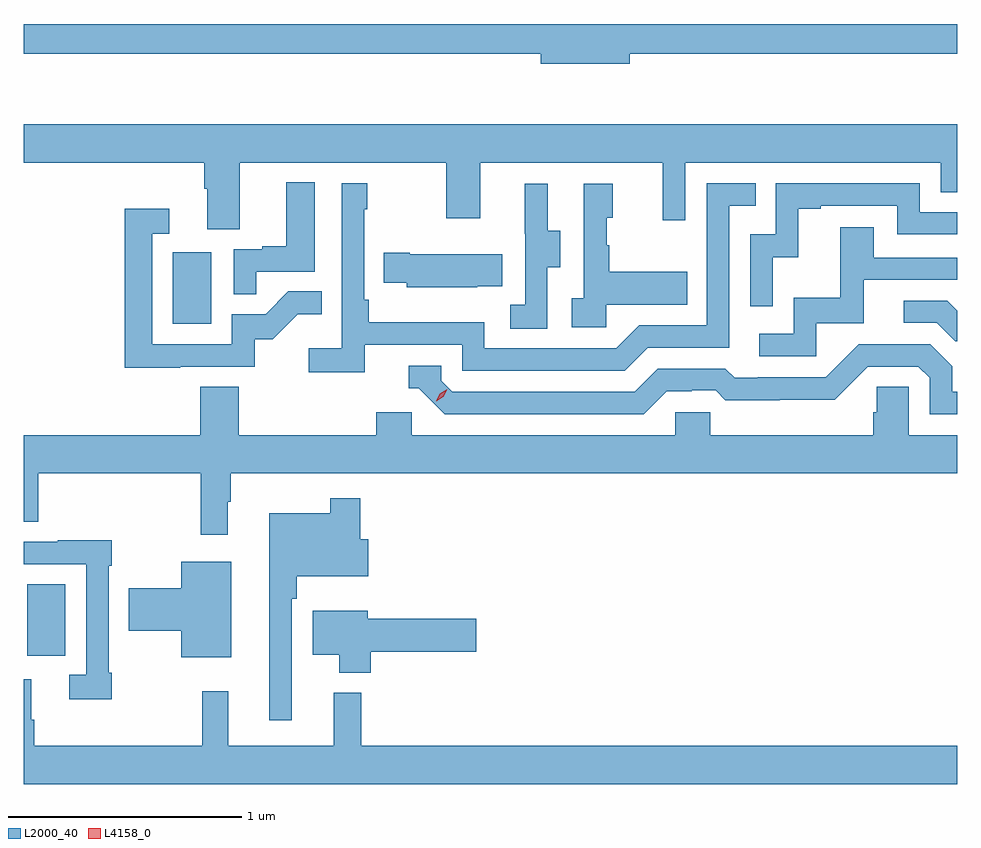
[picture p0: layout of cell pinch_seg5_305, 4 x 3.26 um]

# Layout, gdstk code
import gdstk
lib = gdstk.Library(unit=1e-6, precision=1e-09)
def R(c, l, rs):  # rectangles x0, y0, x1, y1
    for r in rs: c.add(gdstk.rectangle(r[:2], r[2:], *l))
def P(c, l, *ps):  # polygons
    for p in ps: c.add(gdstk.Polygon(p, *l))
L2000_40 = (2000, 40)
L4158_0 = (4158, 0)

pinch_seg5_305 = lib.new_cell('pinch_seg5_305')
R(pinch_seg5_305, L2000_40, [(887.528,886.614,887.692,886.921), (888.152,888.036,888.316,888.343)])
P(pinch_seg5_305, L2000_40, [(890.11,889.194),(891.514,889.194),(891.514,889.322),(887.514,889.322),(887.514,889.194),(889.73,889.194),(889.73,889.151),(890.11,889.151)],
  [(888.439,888.728),(889.324,888.728),(889.324,888.489),(889.471,888.489),(889.471,888.728),(890.252,888.728),(890.252,888.48),(890.349,888.48),(890.349,888.728),(891.444,888.728),(891.444,888.601),(891.514,888.601),(891.514,888.892),(887.514,888.892),(887.514,888.728),(888.287,888.728),(888.287,888.616),(888.299,888.616),(888.299,888.442),(888.439,888.442)],
  [(888.509,888.261),(888.76,888.261),(888.76,888.643),(888.638,888.643),(888.638,888.37),(888.535,888.37),(888.535,888.357),(888.414,888.357),(888.414,888.163),(888.509,888.163)],
  [(888.974,887.946),(889.392,887.946),(889.392,887.835),(890.089,887.835),(890.188,887.934),(890.538,887.934),(890.538,888.543),(890.651,888.543),(890.651,888.639),(890.442,888.639),(890.442,888.03),(890.151,888.03),(890.052,887.931),(889.488,887.931),(889.488,888.043),(888.992,888.043),(888.992,888.139),(888.972,888.139),(888.972,888.527),(888.985,888.527),(888.985,888.64),(888.876,888.64),(888.876,887.932),(888.735,887.932),(888.735,887.83),(888.974,887.83)],
  [(890.724,888.323),(890.834,888.323),(890.834,888.531),(890.929,888.531),(890.929,888.543),(891.258,888.543),(891.258,888.42),(891.514,888.42),(891.514,888.516),(891.354,888.516),(891.354,888.639),(890.736,888.639),(890.736,888.42),(890.628,888.42),(890.628,888.111),(890.724,888.111)],
  [(890.01,888.119),(890.357,888.119),(890.357,888.259),(890.023,888.259),(890.023,888.374),(890.013,888.374),(890.013,888.492),(890.038,888.492),(890.038,888.637),(889.914,888.637),(889.914,888.146),(889.863,888.146),(889.863,888.021),(890.01,888.021)],
  [(889.758,888.28),(889.813,888.28),(889.813,888.435),(889.759,888.435),(889.759,888.637),(889.661,888.637),(889.661,888.423),(889.662,888.423),(889.662,888.119),(889.599,888.119),(889.599,888.016),(889.758,888.016)],
  [(888.185,887.853),(888.504,887.853),(888.504,887.97),(888.58,887.97),(888.687,888.077),(888.791,888.077),(888.791,888.176),(888.648,888.176),(888.55,888.078),(888.405,888.078),(888.405,887.949),(888.063,887.949),(888.063,888.423),(888.136,888.423),(888.136,888.529),(887.947,888.529),(887.947,887.848),(888.185,887.848)],
  [(890.91,888.039),(891.115,888.039),(891.115,888.225),(891.514,888.225),(891.514,888.321),(891.157,888.321),(891.157,888.451),(891.013,888.451),(891.013,888.148),(890.814,888.148),(890.814,887.994),(890.667,887.994),(890.667,887.898),(890.91,887.898)],
  [(889.457,888.197),(889.565,888.197),(889.565,888.334),(889.168,888.334),(889.168,888.342),(889.057,888.342),(889.057,888.212),(889.155,888.212),(889.155,888.194),(889.457,888.194)],
  [(891.514,888.093),(891.472,888.135),(891.285,888.135),(891.285,888.042),(891.426,888.042),(891.506,887.962),(891.514,887.962)],
  [(890.269,887.748),(890.376,887.748),(890.376,887.751),(890.479,887.751),(890.521,887.709),(890.754,887.709),(890.754,887.711),(890.99,887.711),(891.132,887.853),(891.348,887.853),(891.396,887.805),(891.396,887.649),(891.514,887.649),(891.514,887.745),(891.493,887.745),(891.493,887.855),(891.399,887.949),(891.093,887.949),(890.952,887.808),(890.659,887.808),(890.659,887.805),(890.56,887.805),(890.521,887.844),(890.232,887.844),(890.133,887.745),(889.35,887.745),(889.302,887.793),(889.302,887.856),(889.163,887.856),(889.163,887.76),(889.206,887.76),(889.317,887.649),(890.17,887.649)],
  [(888.388,887.273),(888.4,887.273),(888.4,887.396),(891.514,887.396),(891.514,887.56),(891.306,887.56),(891.306,887.768),(891.169,887.768),(891.169,887.658),(891.155,887.658),(891.155,887.56),(890.457,887.56),(890.457,887.658),(890.307,887.658),(890.307,887.56),(889.176,887.56),(889.176,887.658),(889.025,887.658),(889.025,887.56),(888.434,887.56),(888.434,887.768),(888.269,887.768),(888.269,887.56),(887.514,887.56),(887.514,887.188),(887.576,887.188),(887.576,887.396),(888.271,887.396),(888.271,887.133),(888.388,887.133)],
  [(888.663,886.859),(888.683,886.859),(888.683,886.955),(888.991,886.955),(888.991,887.113),(888.956,887.113),(888.956,887.29),(888.828,887.29),(888.828,887.224),(888.566,887.224),(888.566,886.338),(888.663,886.338)],
  [(887.89,886.54),(887.877,886.54),(887.877,887),(887.89,887),(887.89,887.108),(887.659,887.108),(887.659,887.103),(887.514,887.103),(887.514,887.007),(887.781,887.007),(887.781,886.533),(887.709,886.533),(887.709,886.428),(887.89,886.428)],
  [(888.403,887.017),(888.188,887.017),(888.188,886.904),(887.964,886.904),(887.964,886.721),(888.188,886.721),(888.188,886.607),(888.403,886.607)],
  [(889.001,886.63),(889.453,886.63),(889.453,886.772),(888.988,886.772),(888.988,886.807),(888.752,886.807),(888.752,886.619),(888.866,886.619),(888.866,886.541),(889.001,886.541)],
  [(891.514,886.228),(888.959,886.228),(888.959,886.456),(888.842,886.456),(888.842,886.228),(888.389,886.228),(888.389,886.462),(888.279,886.462),(888.279,886.228),(887.558,886.228),(887.558,886.34),(887.545,886.34),(887.545,886.514),(887.514,886.514),(887.514,886.064),(891.514,886.064)])
P(pinch_seg5_305, L4158_0, [(889.281,887.705),(889.281,887.705),(889.297,887.738),(889.328,887.757),(889.328,887.757),(889.328,887.757),(889.312,887.724),(889.282,887.705)])

lib.write_gds('pinch_seg5_305.gds')
